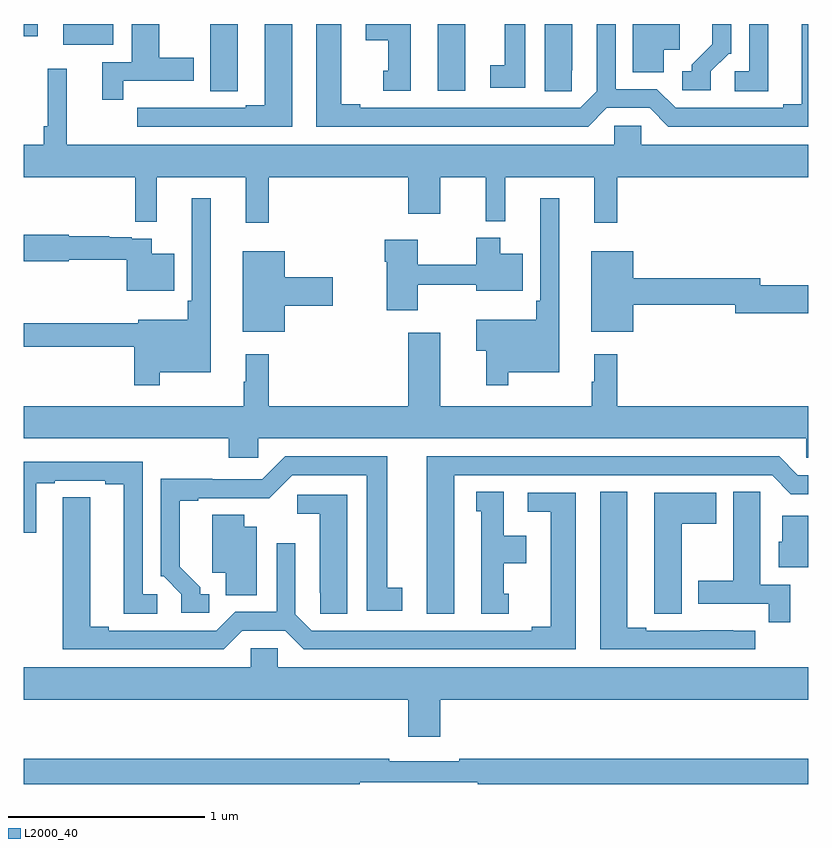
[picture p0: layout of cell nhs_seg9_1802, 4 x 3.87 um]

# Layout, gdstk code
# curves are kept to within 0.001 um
import gdstk
lib = gdstk.Library(unit=1e-6, precision=1e-09)
def R(c, l, rs):  # rectangles x0, y0, x1, y1
    for r in rs: c.add(gdstk.rectangle(r[:2], r[2:], *l))
def P(c, l, *ps):  # polygons
    for p in ps: c.add(gdstk.Polygon(p, *l))
L2000_40 = (2000, 40)

nhs_seg9_1802 = lib.new_cell('nhs_seg9_1802')
R(nhs_seg9_1802, L2000_40, [(213.11,1230.159,213.25,1230.5), (211.202,1230.395,211.456,1230.5), (211,1230.438,211.072,1230.5)])
P(nhs_seg9_1802, L2000_40, [(213.973,1230.072),(214.191,1230.072),(214.287,1229.976),(215,1229.976),(215,1230.5),(214.967,1230.5),(214.967,1230.092),(214.871,1230.092),(214.871,1230.072),(214.323,1230.072),(214.227,1230.168),(214.017,1230.168),(214.017,1230.5),(213.921,1230.5),(213.921,1230.156),(213.837,1230.072),(212.716,1230.072),(212.716,1230.092),(212.62,1230.092),(212.62,1230.5),(212.492,1230.5),(212.492,1229.976),(213.877,1229.976)],
  [(211.508,1230.21),(211.867,1230.21),(211.867,1230.327),(211.69,1230.327),(211.69,1230.5),(211.55,1230.5),(211.55,1230.306),(211.4,1230.306),(211.4,1230.114),(211.508,1230.114)],
  [(214.264,1230.368),(214.345,1230.368),(214.345,1230.5),(214.106,1230.5),(214.106,1230.253),(214.264,1230.253)],
  [(212.091,1230.265),(212.092,1230.265),(212.092,1230.5),(211.952,1230.5),(211.952,1230.157),(212.091,1230.157)],
  [(214.795,1230.5),(214.698,1230.5),(214.698,1230.258),(214.626,1230.258),(214.626,1230.157),(214.795,1230.157)],
  [(213.795,1230.265),(213.796,1230.265),(213.796,1230.5),(213.656,1230.5),(213.656,1230.157),(213.795,1230.157)],
  [(212.974,1230.5),(212.744,1230.5),(212.744,1230.416),(212.858,1230.416),(212.858,1230.261),(212.834,1230.261),(212.834,1230.159),(212.974,1230.159)],
  [(214.503,1230.258),(214.593,1230.348),(214.608,1230.348),(214.608,1230.5),(214.511,1230.5),(214.511,1230.398),(214.406,1230.293),(214.406,1230.258),(214.356,1230.258),(214.356,1230.162),(214.503,1230.162)],
  [(212.368,1230.5),(212.228,1230.5),(212.228,1230.087),(212.132,1230.087),(212.132,1230.072),(211.856,1230.072),(211.856,1230.073),(211.69,1230.073),(211.69,1230.072),(211.578,1230.072),(211.578,1229.976),(212.368,1229.976)],
  [(213.556,1230.5),(213.452,1230.5),(213.452,1230.29),(213.378,1230.29),(213.378,1230.174),(213.556,1230.174)],
  [(212.249,1229.72),(212.96,1229.72),(212.96,1229.532),(213.124,1229.532),(213.124,1229.72),(213.355,1229.72),(213.355,1229.495),(213.455,1229.495),(213.455,1229.72),(213.908,1229.72),(213.908,1229.487),(214.025,1229.487),(214.025,1229.72),(215,1229.72),(215,1229.884),(214.149,1229.884),(214.149,1229.982),(214.011,1229.982),(214.011,1229.884),(211.22,1229.884),(211.22,1230.271),(211.122,1230.271),(211.122,1229.98),(211.102,1229.98),(211.102,1229.884),(211,1229.884),(211,1229.72),(211.57,1229.72),(211.57,1229.491),(211.679,1229.491),(211.679,1229.72),(212.132,1229.72),(212.132,1229.487),(212.249,1229.487)],
  [(211.693,1228.724),(211.954,1228.724),(211.954,1229.611),(211.857,1229.611),(211.857,1229.089),(211.837,1229.089),(211.837,1228.993),(211.583,1228.993),(211.583,1228.975),(211,1228.975),(211,1228.854),(211.564,1228.854),(211.564,1228.659),(211.693,1228.659)],
  [(213.469,1228.724),(213.73,1228.724),(213.73,1229.611),(213.633,1229.611),(213.633,1229.089),(213.613,1229.089),(213.613,1228.993),(213.306,1228.993),(213.306,1228.835),(213.358,1228.835),(213.358,1228.659),(213.469,1228.659)],
  [(211.768,1229.329),(211.654,1229.329),(211.654,1229.406),(211.55,1229.406),(211.55,1229.412),(211.436,1229.412),(211.436,1229.419),(211.23,1229.419),(211.23,1229.427),(211,1229.427),(211,1229.29),(211.23,1229.29),(211.23,1229.298),(211.525,1229.298),(211.525,1229.141),(211.768,1229.141)],
  [(213.01,1229.17),(213.308,1229.17),(213.308,1229.141),(213.544,1229.141),(213.544,1229.329),(213.43,1229.329),(213.43,1229.41),(213.308,1229.41),(213.308,1229.273),(213.01,1229.273),(213.01,1229.401),(212.84,1229.401),(212.84,1229.288),(212.852,1229.288),(212.852,1229.04),(213.01,1229.04)],
  [(214.108,1229.068),(214.628,1229.068),(214.628,1229.026),(215,1229.026),(215,1229.168),(214.756,1229.168),(214.756,1229.204),(214.108,1229.204),(214.108,1229.341),(213.893,1229.341),(213.893,1228.931),(214.108,1228.931)],
  [(212.332,1229.063),(212.575,1229.063),(212.575,1229.21),(212.332,1229.21),(212.332,1229.341),(212.117,1229.341),(212.117,1228.931),(212.332,1228.931)],
  [(212.196,1228.388),(214.989,1228.388),(214.989,1228.29),(215,1228.29),(215,1228.552),(214.025,1228.552),(214.025,1228.816),(213.908,1228.816),(213.908,1228.676),(213.897,1228.676),(213.897,1228.552),(213.124,1228.552),(213.124,1228.927),(212.96,1228.927),(212.96,1228.552),(212.249,1228.552),(212.249,1228.816),(212.132,1228.816),(212.132,1228.676),(212.121,1228.676),(212.121,1228.552),(211,1228.552),(211,1228.388),(212.045,1228.388),(212.045,1228.29),(212.196,1228.29)],
  [(213.196,1228.2),(214.815,1228.2),(214.911,1228.104),(215,1228.104),(215,1228.2),(214.947,1228.2),(214.851,1228.296),(213.056,1228.296),(213.056,1227.495),(213.196,1227.495)],
  [(211.945,1227.594),(211.9,1227.594),(211.9,1227.629),(211.795,1227.734),(211.795,1228.071),(211.891,1228.071),(211.891,1228.083),(212.252,1228.082),(212.37,1228.2),(212.75,1228.2),(212.75,1227.51),(212.929,1227.51),(212.929,1227.626),(212.854,1227.626),(212.854,1228.296),(212.334,1228.296),(212.217,1228.179),(211.961,1228.179),(211.961,1228.181),(211.698,1228.181),(211.698,1227.684),(211.713,1227.684),(211.803,1227.594),(211.803,1227.498),(211.945,1227.498)],
  [(211.681,1227.594),(211.608,1227.594),(211.608,1228.269),(211,1228.269),(211,1227.907),(211.063,1227.907),(211.063,1228.158),(211.159,1228.158),(211.159,1228.173),(211.415,1228.173),(211.415,1228.153),(211.511,1228.153),(211.511,1227.493),(211.681,1227.493)],
  [(214.729,1227.408),(214.616,1227.408),(214.616,1227.409),(214.45,1227.409),(214.45,1227.408),(214.174,1227.408),(214.174,1227.423),(214.078,1227.423),(214.078,1228.115),(213.938,1228.115),(213.938,1227.312),(214.729,1227.312)],
  [(214.907,1227.642),(214.756,1227.642),(214.756,1228.004),(214.755,1228.004),(214.755,1228.115),(214.616,1228.115),(214.616,1227.663),(214.439,1227.663),(214.439,1227.546),(214.798,1227.546),(214.798,1227.45),(214.907,1227.45)],
  [(213.472,1227.597),(213.448,1227.597),(213.448,1227.752),(213.562,1227.752),(213.562,1227.892),(213.448,1227.892),(213.448,1228.115),(213.308,1228.115),(213.308,1228.017),(213.332,1228.017),(213.332,1227.495),(213.472,1227.495)],
  [(214.354,1227.952),(214.531,1227.952),(214.531,1228.111),(214.214,1228.111),(214.214,1227.601),(214.215,1227.601),(214.215,1227.493),(214.354,1227.493)],
  [(212.115,1227.408),(212.333,1227.408),(212.429,1227.312),(213.814,1227.312),(213.814,1228.11),(213.57,1228.11),(213.57,1228.014),(213.686,1228.014),(213.686,1227.428),(213.59,1227.428),(213.59,1227.408),(212.469,1227.408),(212.385,1227.492),(212.385,1227.853),(212.289,1227.853),(212.289,1227.504),(212.079,1227.504),(211.983,1227.408),(211.435,1227.408),(211.435,1227.428),(211.339,1227.428),(211.339,1228.088),(211.2,1228.088),(211.199,1227.312),(212.019,1227.312)],
  [(212.65,1228.101),(212.394,1228.101),(212.394,1228.004),(212.51,1228.004),(212.51,1227.601),(212.511,1227.601),(212.511,1227.493),(212.65,1227.493)],
  [(212.188,1227.937),(212.125,1227.937),(212.125,1227.998),(211.961,1227.998),(211.961,1227.704),(212.03,1227.704),(212.03,1227.589),(212.188,1227.589)],
  [(215,1227.994),(214.868,1227.994),(214.868,1227.861),(214.85,1227.861),(214.85,1227.731),(215,1227.731)],
  [(213.124,1227.056),(215,1227.056),(215,1227.22),(212.295,1227.22),(212.295,1227.318),(212.157,1227.318),(212.157,1227.22),(211,1227.22),(211,1227.056),(212.96,1227.056),(212.96,1226.868),(213.124,1226.868)],
  [(212.714,1226.634),(213.314,1226.634),(213.314,1226.626),(215,1226.626),(215,1226.755),(213.22,1226.755),(213.22,1226.742),(212.864,1226.742),(212.864,1226.755),(211,1226.755),(211,1226.626),(212.714,1226.626)])

lib.write_gds('nhs_seg9_1802.gds')
